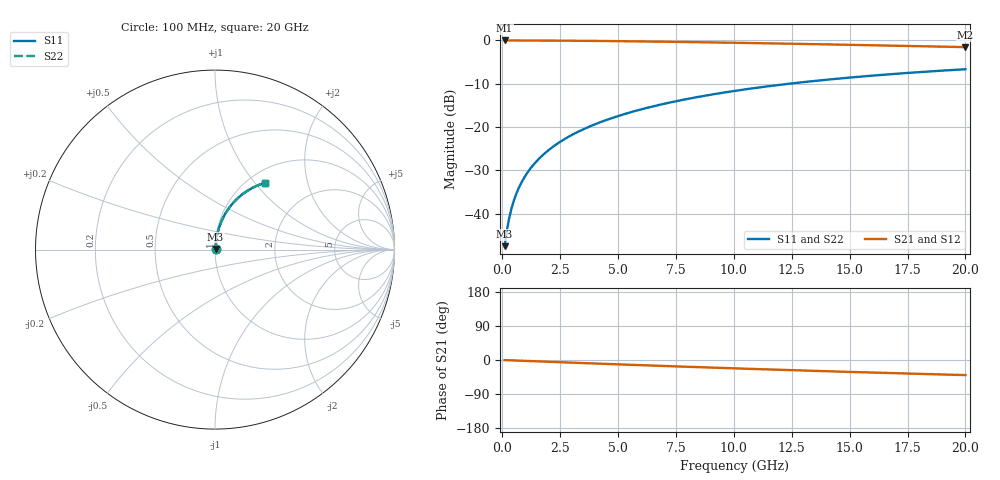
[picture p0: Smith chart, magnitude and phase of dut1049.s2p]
! Touchstone file exported from HFSS 2024.1.0
!  File:  C:/UserFiles/LocalFiles/RDL_TSV_Batchsim/temp_RDL_bottom_1049_1780051887.aedt
!  Generated:  06:54:20 PM May 29, 2026
!  Design:  RDL_bottom
!  Project:  temp_RDL_bottom_1049_1780051887
!  Setup:  Setup1
!  Solution:  Sweep
! Variables:
!  dtsv = 10.80580581um
!  hbump = 3um
!  htsv = 94.87um
!  ldown = 475.71um
!  lrdl = 100um
!  p = 40
!  p1 = 59.58um
!  rhole = 1um
!  t = 450um
!  tdown = 4.19um
!  trdl = 3.915915916um
!  wdown = 13.12um
!  wrdl = 20um
# GHz S MA R 50.000000
! Terminal data exported
! Port[1] = RDL1_T1
! Port[2] = RDL1_T2
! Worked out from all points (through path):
!   200 points, 100 MHz to 20 GHz, reference 50 ohm
!   highest |S21| = -0.03 dB at 100 MHz (marker M1); lowest = -1.6 dB at 20 GHz (marker M2)
!   group delay of S21, straight-line fit = 5.53 ps
!   lowest |S11| = -47.5 dB at 100 MHz (marker M3), VSWR 1.01, Z = 50.3 + j0.279 ohm
!   |S11| at or under -10 dB: start of sweep to 12.42 GHz
!   |S22| runs from -47.5 to -6.7 dB; largest |S21 - S12| = 3.4e-15
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0.1  0.004199 41.4  0.9968 -0.2  0.9968 -0.2  0.004199 41.4
! Gamma 0 0 0 0
! Port Impedance 50 0 50 0
0.2  0.006405 59.8  0.9968 -0.5  0.9968 -0.5  0.006405 59.8
0.3  0.008919 68.1  0.9967 -0.7  0.9967 -0.7  0.008919 68.1
0.4  0.01152 72.6  0.9966 -1.0  0.9966 -1.0  0.01152 72.6
0.5  0.01415 75.3  0.9964 -1.2  0.9964 -1.2  0.01415 75.3
0.6  0.0168 77.1  0.9963 -1.4  0.9963 -1.4  0.0168 77.1
0.8  0.02209 79.4  0.996 -1.9  0.996 -1.9  0.02209 79.4
1.1  0.03006 81.1  0.9955 -2.6  0.9955 -2.6  0.03006 81.1
1.5  0.04071 82.0  0.9947 -3.5  0.9947 -3.5  0.04071 82.0
1.8  0.04871 82.3  0.9939 -4.2  0.9939 -4.2  0.04871 82.3
2.1  0.05671 82.3  0.993 -4.9  0.993 -4.9  0.05671 82.3
2.7  0.07271 82.0  0.9909 -6.3  0.9909 -6.3  0.07271 82.0
3.5  0.09398 81.1  0.9874 -8.1  0.9874 -8.1  0.09399 81.1
4.2  0.1125 80.2  0.9837 -9.7  0.9837 -9.7  0.1125 80.2
5  0.1336 78.9  0.9788 -11.5  0.9788 -11.5  0.1336 78.9
5.9  0.1571 77.5  0.9727 -13.5  0.9727 -13.5  0.1571 77.5
6.8  0.1803 75.9  0.9659 -15.4  0.9659 -15.4  0.1803 75.9
8.3  0.2182 73.3  0.9536 -18.6  0.9536 -18.6  0.2183 73.3
10.1  0.2623 70.0  0.9373 -22.2  0.9373 -22.2  0.2623 70.1
13.4  0.3377 64.2  0.9046 -28.5  0.9046 -28.5  0.3378 64.2
16.7  0.4052 58.5  0.8699 -34.4  0.8699 -34.4  0.4053 58.5
20  0.464 53.2  0.8348 -39.8  0.8348 -39.8  0.4641 53.2
